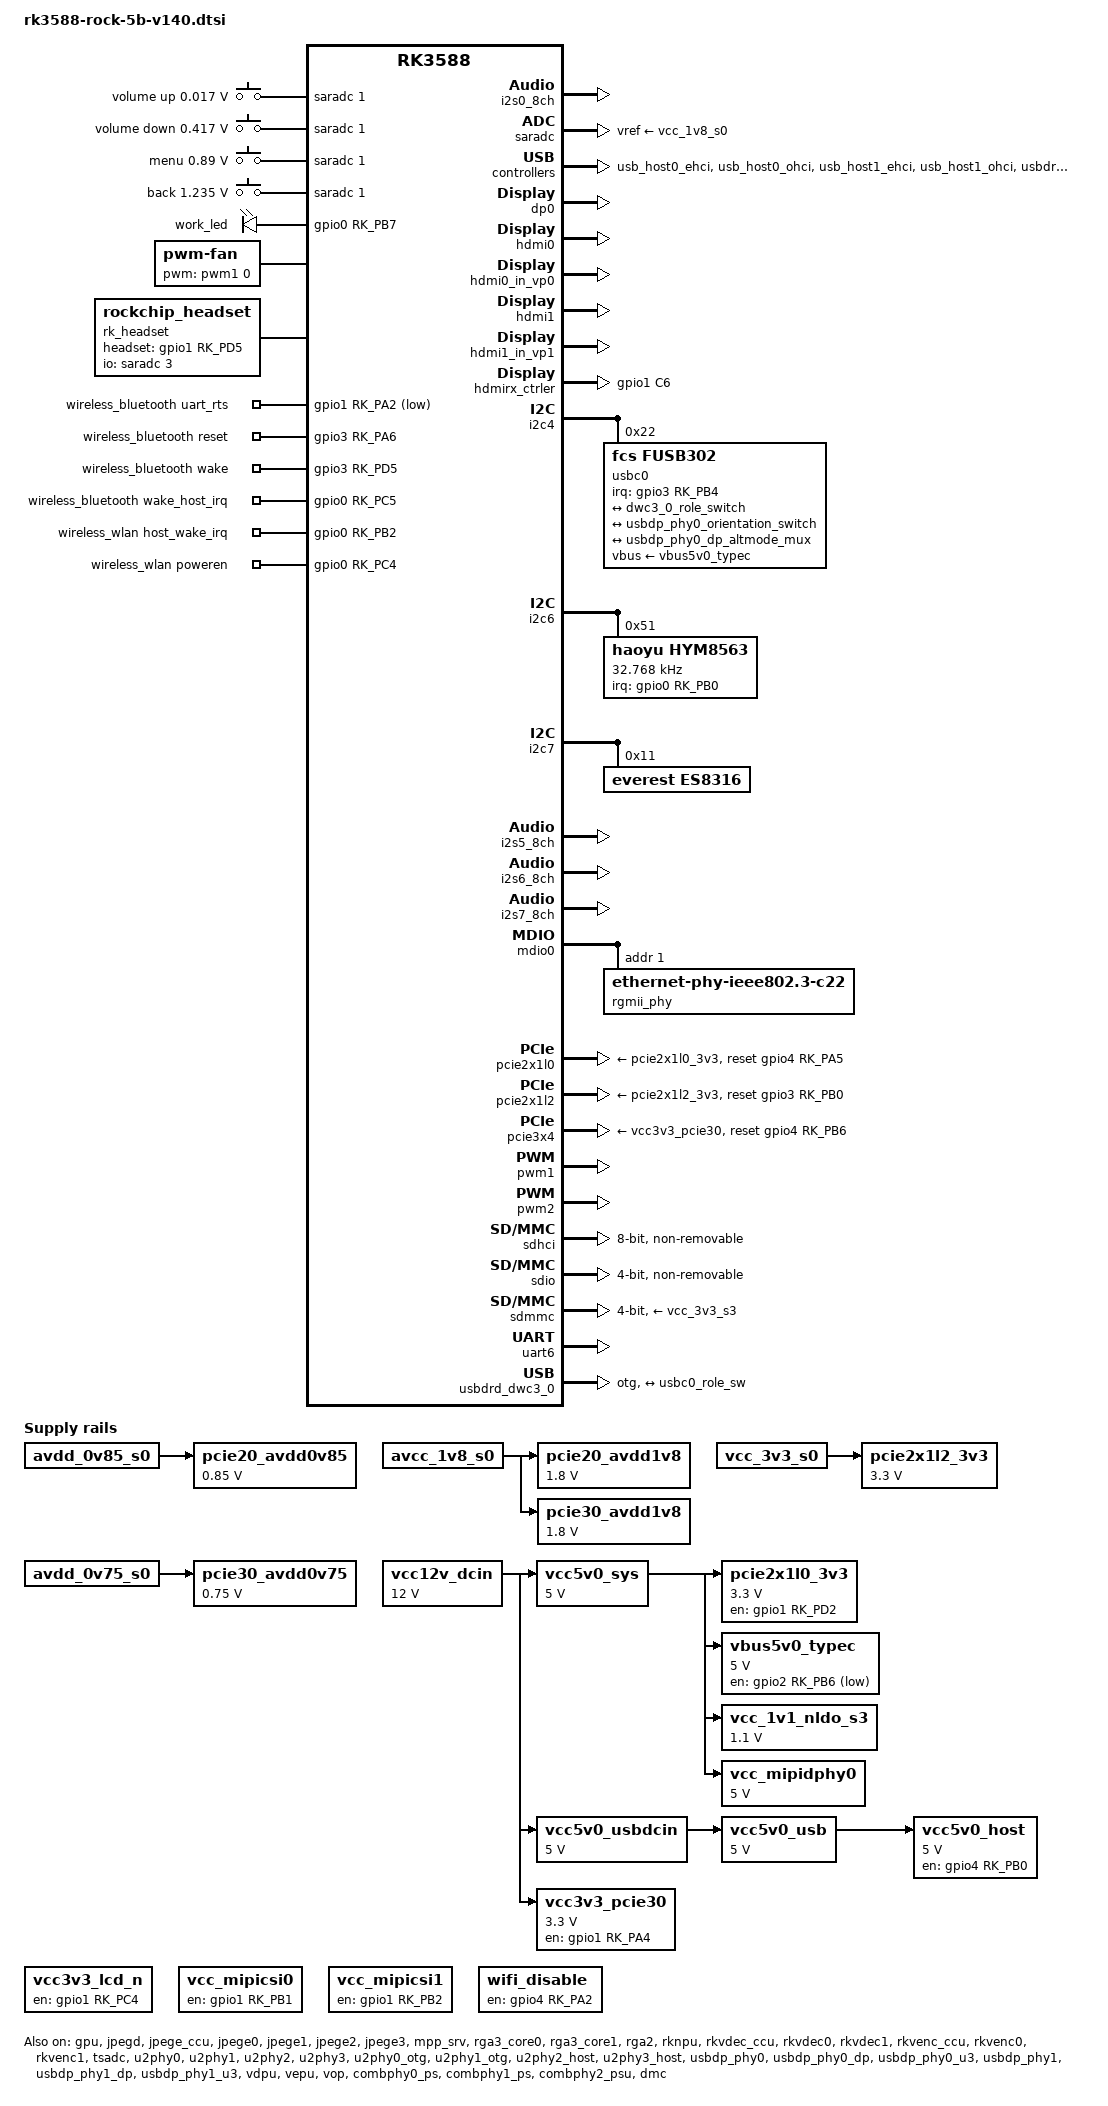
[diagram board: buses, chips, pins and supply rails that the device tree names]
// SPDX-License-Identifier: (GPL-2.0+ OR MIT)
/*
 * Copyright (c) 2021 Rockchip Electronics Co., Ltd.
 *
 */

#include <dt-bindings/gpio/gpio.h>
#include <dt-bindings/pwm/pwm.h>
#include <dt-bindings/pinctrl/rockchip.h>
#include <dt-bindings/input/rk-input.h>
#include <dt-bindings/display/drm_mipi_dsi.h>
#include <dt-bindings/display/rockchip_vop.h>
#include <dt-bindings/sensor-dev.h>
#include "dt-bindings/usb/pd.h"
#include "rk3588.dtsi"
#include "rk3588-rk806-5B-v20.dtsi"


/ {
	aliases {
		mmc0 = &sdmmc;
		mmc1 = &sdhci;
		mmc2 = &sdio;
	};

	adc_keys: adc-keys {
		compatible = "adc-keys";
		io-channels = <&saradc 1>;
		io-channel-names = "buttons";
		keyup-threshold-microvolt = <1800000>;
		poll-interval = <100>;

		vol-up-key {
			label = "volume up";
			linux,code = <KEY_VOLUMEUP>;
			press-threshold-microvolt = <17000>;
		};

		vol-down-key {
			label = "volume down";
			linux,code = <KEY_VOLUMEDOWN>;
			press-threshold-microvolt = <417000>;
		};

		menu-key {
			label = "menu";
			linux,code = <KEY_MENU>;
			press-threshold-microvolt = <890000>;
		};

		back-key {
			label = "back";
			linux,code = <KEY_BACK>;
			press-threshold-microvolt = <1235000>;
		};
	};

	hdmi0_sound: hdmi0-sound {
		status = "okay";
		compatible = "rockchip,hdmi";
		rockchip,mclk-fs = <128>;
		rockchip,card-name = "rockchip-hdmi0";
		rockchip,cpu = <&i2s5_8ch>;
		rockchip,codec = <&hdmi0>;
		rockchip,jack-det;
	};

	hdmi1_sound: hdmi1-sound {
		status = "okay";
		compatible = "rockchip,hdmi";
		rockchip,mclk-fs = <128>;
		rockchip,card-name = "rockchip-hdmi1";
		rockchip,cpu = <&i2s6_8ch>;
		rockchip,codec = <&hdmi1>;
		rockchip,jack-det;
	};

	dp0_sound: dp0-sound {
		status = "okay";
		compatible = "rockchip,hdmi";
		rockchip,card-name= "rockchip,dp0";
		rockchip,mclk-fs = <512>;
		rockchip,cpu = <&spdif_tx2>;
		rockchip,codec = <&dp0 1>;
		rockchip,jack-det;
	};

	dp1_sound: dp1-sound {
		status = "disabled";
		compatible = "rockchip,hdmi";
		rockchip,card-name= "rockchip,dp1";
		rockchip,mclk-fs = <512>;
		rockchip,cpu = <&spdif_tx5>;
		rockchip,codec = <&dp1 1>;
		rockchip,jack-det;
	};

	leds: leds {
		compatible = "gpio-leds";
		work_led: work {
			gpios = <&gpio0 RK_PB7 GPIO_ACTIVE_HIGH>;
			linux,default-trigger = "heartbeat";
		};
	};

	vcc12v_dcin: vcc12v-dcin {
		compatible = "regulator-fixed";
		regulator-name = "vcc12v_dcin";
		regulator-always-on;
		regulator-boot-on;
		regulator-min-microvolt = <12000000>;
		regulator-max-microvolt = <12000000>;
	};

	vcc5v0_sys: vcc5v0-sys {
		compatible = "regulator-fixed";
		regulator-name = "vcc5v0_sys";
		regulator-always-on;
		regulator-boot-on;
		regulator-min-microvolt = <5000000>;
		regulator-max-microvolt = <5000000>;
		vin-supply = <&vcc12v_dcin>;
	};

	vcc5v0_usbdcin: vcc5v0-usbdcin {
		compatible = "regulator-fixed";
		regulator-name = "vcc5v0_usbdcin";
		regulator-always-on;
		regulator-boot-on;
		regulator-min-microvolt = <5000000>;
		regulator-max-microvolt = <5000000>;
		vin-supply = <&vcc12v_dcin>;
	};

	vcc5v0_usb: vcc5v0-usb {
		compatible = "regulator-fixed";
		regulator-name = "vcc5v0_usb";
		regulator-always-on;
		regulator-boot-on;
		regulator-min-microvolt = <5000000>;
		regulator-max-microvolt = <5000000>;
		vin-supply = <&vcc5v0_usbdcin>;
	};

	/* If hdmirx node is disabled, delete the reserved-memory node here. */
	reserved-memory {
		#address-cells = <2>;
		#size-cells = <2>;
		ranges;

		/* Reserve 256MB memory for hdmirx-controller@fdee0000 */
		cma {
			compatible = "shared-dma-pool";
			reusable;
			reg = <0x0 (256 * 0x100000) 0x0 (256 * 0x100000)>;
			linux,cma-default;
		};
	};

	es8316_sound: es8316-sound {
		status = "okay";
		compatible = "simple-audio-card";
		simple-audio-card,format = "i2s";
		simple-audio-card,mclk-fs = <256>;
		simple-audio-card,name = "rockchip,es8316-codec";
		simple-audio-card,dai-link@0 {
			format = "i2s";
			cpu {
				sound-dai = <&i2s0_8ch>;
			};
			codec {
				sound-dai = <&es8316>;
			};
		};
	};

	fan: pwm-fan {
		compatible = "pwm-fan";
		#cooling-cells = <2>;
		pwms = <&pwm1 0 50000 0>;
		cooling-levels = <0 50 100 150 200 255>;
		rockchip,temp-trips = <
                50000   1
                55000   2
                60000   3
                65000   4
                70000   5
        >;
	};

	hdmiin_dc: hdmiin-dc {
		compatible = "rockchip,dummy-codec";
		#sound-dai-cells = <0>;
	};

	hdmiin-sound {
		compatible = "simple-audio-card";
		simple-audio-card,format = "i2s";
		simple-audio-card,name = "rockchip,hdmiin";
		simple-audio-card,bitclock-master = <&dailink0_master>;
		simple-audio-card,frame-master = <&dailink0_master>;
		status = "okay";
		simple-audio-card,cpu {
			sound-dai = <&i2s7_8ch>;
		};
		dailink0_master: simple-audio-card,codec {
			sound-dai = <&hdmiin_dc>;
		};
	};

	pcie20_avdd0v85: pcie20-avdd0v85 {
		compatible = "regulator-fixed";
		regulator-name = "pcie20_avdd0v85";
		regulator-boot-on;
		regulator-always-on;
		regulator-min-microvolt = <850000>;
		regulator-max-microvolt = <850000>;
		vin-supply = <&avdd_0v85_s0>;
	};

	pcie20_avdd1v8: pcie20-avdd1v8 {
		compatible = "regulator-fixed";
		regulator-name = "pcie20_avdd1v8";
		regulator-boot-on;
		regulator-always-on;
		regulator-min-microvolt = <1800000>;
		regulator-max-microvolt = <1800000>;
		vin-supply = <&avcc_1v8_s0>;
	};

    // PCIe 2.0 E-Key Socket ( Wireless NIC )
	pcie2x1l0_3v3: pcie2x1l1-3v3 {
		compatible = "regulator-fixed";
		regulator-name = "pcie2x1l0_3v3";
		regulator-min-microvolt = <3300000>;
		regulator-max-microvolt = <3300000>;
		regulator-boot-on;
		regulator-always-on;
		enable-active-high;
		gpios = <&gpio1 RK_PD2 GPIO_ACTIVE_HIGH>;
		startup-delay-us = <5000>;
		vin-supply = <&vcc5v0_sys>;
		regulator-state-mem {
			regulator-off-in-suspend;
		};
	};

	pcie2x1l2_3v3: pcie2x1l2-3v3 {
		compatible = "regulator-fixed";
		regulator-name = "pcie2x1l2_3v3";
		regulator-min-microvolt = <3300000>;
		regulator-max-microvolt = <3300000>;
		regulator-boot-on;
		regulator-always-on;
		startup-delay-us = <5000>;
		vin-supply = <&vcc_3v3_s0>;
	};

	pcie30_avdd0v75: pcie30-avdd0v75 {
		compatible = "regulator-fixed";
		regulator-name = "pcie30_avdd0v75";
		regulator-boot-on;
		regulator-always-on;
		regulator-min-microvolt = <750000>;
		regulator-max-microvolt = <750000>;
		vin-supply = <&avdd_0v75_s0>;
	};

	pcie30_avdd1v8: pcie30-avdd1v8 {
		compatible = "regulator-fixed";
		regulator-name = "pcie30_avdd1v8";
		regulator-boot-on;
		regulator-always-on;
		regulator-min-microvolt = <1800000>;
		regulator-max-microvolt = <1800000>;
		vin-supply = <&avcc_1v8_s0>;
	};

	rk_headset: rk-headset {
		status = "okay";
		compatible = "rockchip_headset";
		headset_gpio = <&gpio1 RK_PD5 GPIO_ACTIVE_HIGH>;
		pinctrl-names = "default";
		pinctrl-0 = <&hp_det>;
		io-channels = <&saradc 3>;
	};

	vbus5v0_typec: vbus5v0-typec {
		compatible = "regulator-fixed";
		regulator-name = "vbus5v0_typec";
		regulator-min-microvolt = <5000000>;
		regulator-max-microvolt = <5000000>;
		gpio = <&gpio2 RK_PB6 GPIO_ACTIVE_HIGH>;
		vin-supply = <&vcc5v0_sys>;
		pinctrl-names = "default";
		pinctrl-0 = <&typec5v_pwren>;
	};

	vcc_1v1_nldo_s3: vcc-1v1-nldo-s3 {
		compatible = "regulator-fixed";
		regulator-name = "vcc_1v1_nldo_s3";
		regulator-always-on;
		regulator-boot-on;
		regulator-min-microvolt = <1100000>;
		regulator-max-microvolt = <1100000>;
		vin-supply = <&vcc5v0_sys>;
	};

	vcc3v3_lcd_n: vcc3v3-lcd0-n {
		compatible = "regulator-fixed";
		regulator-name = "vcc3v3_lcd0_n";
		regulator-boot-on;
		enable-active-high;
		gpio = <&gpio1 RK_PC4 GPIO_ACTIVE_HIGH>;
		regulator-state-mem {
			regulator-off-in-suspend;
		};
	};

	vcc3v3_pcie30: vcc3v3-pcie30 {
		compatible = "regulator-fixed";
		regulator-name = "vcc3v3_pcie30";
		regulator-min-microvolt = <3300000>;
		regulator-max-microvolt = <3300000>;
		enable-active-high;
		gpios = <&gpio1 RK_PA4 GPIO_ACTIVE_HIGH>;
		startup-delay-us = <5000>;
		vin-supply = <&vcc12v_dcin>;
	};

	vcc5v0_host: vcc5v0-host {
		compatible = "regulator-fixed";
		regulator-name = "vcc5v0_host";
		regulator-boot-on;
		regulator-always-on;
		regulator-min-microvolt = <5000000>;
		regulator-max-microvolt = <5000000>;
		enable-active-high;
		gpio = <&gpio4 RK_PB0 GPIO_ACTIVE_HIGH>;
		vin-supply = <&vcc5v0_usb>;
		pinctrl-names = "default";
		pinctrl-0 = <&vcc5v0_host_en>;
	};

	vcc_mipicsi0: vcc-mipicsi0-regulator {
		compatible = "regulator-fixed";
		gpio = <&gpio1 RK_PB1 GPIO_ACTIVE_HIGH>;
		pinctrl-names = "default";
		pinctrl-0 = <&mipicsi0_pwr>;
		regulator-name = "vcc_mipicsi0";
		enable-active-high;
	};

	vcc_mipicsi1: vcc-mipicsi1-regulator {
		compatible = "regulator-fixed";
		gpio = <&gpio1 RK_PB2 GPIO_ACTIVE_HIGH>;
		pinctrl-names = "default";
		pinctrl-0 = <&mipicsi1_pwr>;
		regulator-name = "vcc_mipicsi1";
		enable-active-high;
	};

	vcc_mipidphy0: vcc-mipidphy0-regulator {
		compatible = "regulator-fixed";
		regulator-name = "vcc_mipidphy0";
		regulator-min-microvolt = <5000000>;
		regulator-max-microvolt = <5000000>;
		vin-supply = <&vcc5v0_sys>;
	};

	wireless_bluetooth: wireless-bluetooth {
        compatible = "bluetooth-platdata";
        clocks = <&hym8563>;
        clock-names = "ext_clock";
        uart_rts_gpios = <&gpio1 RK_PA2 GPIO_ACTIVE_LOW>;
        pinctrl-names = "default", "rts_gpio";
        pinctrl-0 = <&uart6m1_rtsn>, <&bt_reset_gpio>, <&bt_wake_gpio>, <&bt_irq_gpio>;
        pinctrl-1 = <&uart6_gpios>;
        BT,reset_gpio    = <&gpio3 RK_PA6 GPIO_ACTIVE_HIGH>;
        BT,wake_gpio     = <&gpio3 RK_PD5 GPIO_ACTIVE_HIGH>;
        BT,wake_host_irq = <&gpio0 RK_PC5 GPIO_ACTIVE_HIGH>;
        status = "okay";
	};

	wireless_wlan: wireless-wlan {
        compatible = "wlan-platdata";
        clocks = <&hym8563>;
        wifi_chip_type = "ap6255";
        pinctrl-names = "default";
        pinctrl-0 = <&wifi_host_wake_irq>, <&wifi_poweren_gpio>;
        WIFI,host_wake_irq = <&gpio0 RK_PB2 GPIO_ACTIVE_HIGH>;
        WIFI,poweren_gpio = <&gpio0 RK_PC4 GPIO_ACTIVE_HIGH>;
        status = "okay";
	};

	wifi_disable: wifi-diable-gpio-regulator {
		compatible = "regulator-fixed";
		regulator-name = "wifi_disable";
		enable-active-high;
		gpio = <&gpio4 RK_PA2 GPIO_ACTIVE_HIGH>;
		regulator-boot-on;
		regulator-always-on;
	};
};

&av1d_mmu {
	status = "okay";
};

&cpu_l0 {
	cpu-supply = <&vdd_cpu_lit_s0>;
	mem-supply = <&vdd_cpu_lit_mem_s0>;
};

&cpu_b0 {
	cpu-supply = <&vdd_cpu_big0_s0>;
	mem-supply = <&vdd_cpu_big0_mem_s0>;
};

&cpu_b2 {
	cpu-supply = <&vdd_cpu_big1_s0>;
	mem-supply = <&vdd_cpu_big1_mem_s0>;
};

&gpu {
	mali-supply = <&vdd_gpu_s0>;
	mem-supply = <&vdd_gpu_mem_s0>;
	status = "okay";
};

&i2s0_8ch {
	status = "okay";
	pinctrl-0 = <&i2s0_lrck
		     &i2s0_sclk
		     &i2s0_sdi0
		     &i2s0_sdo0>;
};

&jpegd {
	status = "okay";
};

&jpegd_mmu {
	status = "okay";
};

&jpege_ccu {
	status = "okay";
};

&jpege0 {
	status = "okay";
};

&jpege0_mmu {
	status = "okay";
};

&jpege1 {
	status = "okay";
};

&jpege1_mmu {
	status = "okay";
};

&jpege2 {
	status = "okay";
};

&jpege2_mmu {
	status = "okay";
};

&jpege3 {
	status = "okay";
};

&jpege3_mmu {
	status = "okay";
};

&mpp_srv {
	status = "okay";
};

&rga3_core0 {
	status = "okay";
};

&rga3_0_mmu {
	status = "okay";
};

&rga3_core1 {
	status = "okay";
};

&rga3_1_mmu {
	status = "okay";
};

&rga2 {
	status = "okay";
};

&rknpu {
	rknpu-supply = <&vdd_npu_s0>;
	mem-supply = <&vdd_npu_mem_s0>;
	status = "okay";
};

&rknpu_mmu {
	status = "okay";
};

&rkvdec_ccu {
	status = "okay";
};

&rkvdec0 {
	status = "okay";
};

&rkvdec0_mmu {
	status = "okay";
};

&rkvdec1 {
	status = "okay";
};

&rkvdec1_mmu {
	status = "okay";
};

&rkvenc_ccu {
	status = "okay";
};

&rkvenc0 {
	status = "okay";
};

&rkvenc0_mmu {
	status = "okay";
};

&rkvenc1 {
	status = "okay";
};

&rkvenc1_mmu {
	status = "okay";
};

&rockchip_suspend {
	status = "okay";
	rockchip,sleep-debug-en = <1>;
};

&saradc {
	status = "okay";
	vref-supply = <&vcc_1v8_s0>;
};

&tsadc {
	status = "okay";
};

&u2phy0 {
	status = "okay";
};

&u2phy1 {
	status = "okay";
};

&u2phy2 {
	status = "okay";
};

&u2phy3 {
	status = "okay";
};

&u2phy0_otg {
	status = "okay";
	rockchip,typec-vbus-det;
};

&u2phy1_otg {
	status = "okay";
	phy-supply = <&vcc5v0_host>;
};

&u2phy2_host {
	status = "okay";
	phy-supply = <&vcc5v0_host>;
};

&u2phy3_host {
	status = "okay";
	phy-supply = <&vcc5v0_host>;
};

&usb_host0_ehci {
	status = "okay";
};

&usb_host0_ohci {
	status = "okay";
};

&usb_host1_ehci {
	status = "okay";
};

&usb_host1_ohci {
	status = "okay";
};

&usbdp_phy0 {
	status = "okay";
};

&usbdp_phy0_dp {
	status = "okay";
};

&usbdp_phy0_u3 {
	status = "okay";
};

&usbdp_phy1 {
	status = "okay";
	rockchip,dp-lane-mux = <2 3>;
};

&usbdp_phy1_dp {
	status = "okay";
};

&usbdp_phy1_u3 {
	status = "okay";
};

&usbdrd3_0 {
	status = "okay";
};

&usbhost3_0 {
	status = "okay";
};

&usbhost_dwc3_0 {
	status = "okay";
};

&usbdrd3_1 {
	status = "okay";
};

&usbdrd_dwc3_1 {
	status = "okay";
};

&vdpu {
	status = "okay";
};

&vdpu_mmu {
	status = "okay";
};

&vepu {
	status = "okay";
};

&vop {
	status = "okay";
};

&vop_mmu {
	status = "okay";
};

&combphy0_ps {
	status = "okay";
};

&combphy1_ps {
	status = "okay";
};

&combphy2_psu {
	status = "okay";
};

&dmc {
	center-supply = <&vdd_ddr_s0>;
	mem-supply = <&vdd_log_s0>;
	status = "okay";
};

&dfi {
	status = "okay";
};

&dp0 {
	status = "okay";
};

&dp0_in_vp2 {
	status = "okay";
};

&route_dp0 {
	status = "okay";
	connect = <&vp2_out_dp0>;
};

&dp1 {
	pinctrl-names = "default";
	pinctrl-0 = <&dp1_hpd>;
	hpd-gpios = <&gpio1 RK_PB5 GPIO_ACTIVE_HIGH>;
	status = "disabled";
};

&dp1_in_vp2 {
	status = "disabled";
};

&hdmi0 {
	enable-gpios = <&gpio4 RK_PB1 GPIO_ACTIVE_HIGH>;
	status = "okay";
};

&hdmi0_in_vp0 {
	status = "okay";
};

&hdmi1 {
	enable-gpios = <&gpio4 RK_PB2 GPIO_ACTIVE_HIGH>;
	status = "okay";
};

&hdmi1_in_vp1 {
	status = "okay";
};

/* Should work with at least 128MB cma reserved above. */
&hdmirx_ctrler {
	status = "okay";

	pinctrl-0 = <&hdmim1_rx_cec &hdmim1_rx_hpdin &hdmim1_rx_scl &hdmim1_rx_sda &hdmirx_det>;
	/* Effective level used to trigger HPD: 0-low, 1-high */
	hpd-trigger-level = <1>;
	hdmirx-det-gpios = <&gpio1 RK_PC6 GPIO_ACTIVE_LOW>;
};

&hdptxphy_hdmi0 {
	status = "okay";
};

&hdptxphy_hdmi1 {
	status = "okay";
};

&i2c4 {
	status = "okay";
	pinctrl-0 = <&i2c4m1_xfer>;

	usbc0: fusb302@22 {
		compatible = "fcs,fusb302";
		reg = <0x22>;
		interrupt-parent = <&gpio3>;
		interrupts = <RK_PB4 IRQ_TYPE_LEVEL_LOW>;
		pinctrl-names = "default";
		pinctrl-0 = <&usbc0_int>;
		vbus-supply = <&vbus5v0_typec>;
		status = "okay";

		ports {
			#address-cells = <1>;
			#size-cells = <0>;

			port@0 {
				reg = <0>;
				usbc0_role_sw: endpoint@0 {
					remote-endpoint = <&dwc3_0_role_switch>;
				};
			};
		};

		usb_con: connector {
			compatible = "usb-c-connector";
			label = "USB-C";
			data-role = "dual";
			power-role = "sink";
			try-power-role = "sink";
			op-sink-microwatt = <1000000>;

			sink-pdos =
				<PDO_FIXED(5000, 3000, PDO_FIXED_USB_COMM)
				 PDO_FIXED(9000, 3000, PDO_FIXED_USB_COMM)
				 PDO_FIXED(12000, 2500, PDO_FIXED_USB_COMM)>;
			source-pdos =
				<PDO_FIXED(5000, 3000, PDO_FIXED_USB_COMM)>;

			altmodes {
				#address-cells = <1>;
				#size-cells = <0>;

				altmode@0 {
					reg = <0>;
					svid = <0xff01>;
					vdo = <0xffffffff>;
				};
			};

			ports {
				#address-cells = <1>;
				#size-cells = <0>;

				port@0 {
					reg = <0>;
					usbc0_orien_sw: endpoint {
						remote-endpoint = <&usbdp_phy0_orientation_switch>;
					};
				};

				port@1 {
					reg = <1>;
					dp_altmode_mux: endpoint {
						remote-endpoint = <&usbdp_phy0_dp_altmode_mux>;
					};
				};
			};
		};
	};
};

&i2c6 {
	status = "okay";

	hym8563: hym8563@51 {
		compatible = "haoyu,hym8563";
		reg = <0x51>;
		#clock-cells = <0>;
		clock-frequency = <32768>;
		clock-output-names = "hym8563";
		pinctrl-names = "default";
		pinctrl-0 = <&hym8563_int>;
		interrupt-parent = <&gpio0>;
		interrupts = <RK_PB0 IRQ_TYPE_LEVEL_LOW>;
		wakeup-source;
	};
};

&i2c7 {
	status = "okay";
	es8316: es8316@11 {
		compatible = "everest,es8316";
		reg = <0x11>;
		clocks = <&cru I2S0_8CH_MCLKOUT>;
		clock-names = "mclk";
		pinctrl-names = "default";
		pinctrl-0 = <&i2s0_mclk>;
		#sound-dai-cells = <0>;
	};
};

&i2s5_8ch {
	status = "okay";
};

&i2s6_8ch {
	status = "okay";
};

&i2s7_8ch {
	status = "okay";
};

&iep {
	status = "disabled";
};

&iep_mmu {
	status = "disabled";
};

&mdio0 {
	rgmii_phy: phy@1 {
		compatible = "ethernet-phy-ieee802.3-c22";
		reg = <0x1>;
	};
};

&mipi_dcphy0 {
	status = "disabled";
};

&mipi_dcphy1 {
	status = "okay";
};

// PCIE M.2 NGFF E-KEY SOCKET
&pcie2x1l0 {
	reset-gpios = <&gpio4 RK_PA5 GPIO_ACTIVE_HIGH>;
	vpcie3v3-supply = <&pcie2x1l0_3v3>;
	status = "okay";
};

// R8125
&pcie2x1l2 {
	reset-gpios = <&gpio3 RK_PB0 GPIO_ACTIVE_HIGH>;
	vpcie3v3-supply = <&pcie2x1l2_3v3>;
	status = "okay";
};

&pcie30phy {
	rockchip,pcie30-phymode = <PHY_MODE_PCIE_AGGREGATION>;
	status = "okay";
};

&pcie3x4 {
	reset-gpios = <&gpio4 RK_PB6 GPIO_ACTIVE_HIGH>;
	vpcie3v3-supply = <&vcc3v3_pcie30>;
	status = "okay";
};

&pinctrl {
	cam {
		mipicsi0_pwr: mipicsi0-pwr {
			rockchip,pins =
				/* camera power en */
				<1 RK_PB1 RK_FUNC_GPIO &pcfg_pull_none>;
		};
		mipicsi1_pwr: mipicsi1-pwr {
			rockchip,pins =
				/* camera power en */
				<1 RK_PB2 RK_FUNC_GPIO &pcfg_pull_none>;
		};
	};

	dp {
		dp1_hpd: dp1-hpd {
			rockchip,pins = <1 RK_PB5 RK_FUNC_GPIO &pcfg_pull_none>;
		};
	};

	hdmirx {
		hdmirx_det: hdmirx-det {
			rockchip,pins = <1 RK_PC6 RK_FUNC_GPIO &pcfg_pull_up>;
		};
	};

	headphone {
		hp_det: hp-det {
			rockchip,pins = <1 RK_PD5 RK_FUNC_GPIO &pcfg_pull_none>;
		};
	};

	hym8563 {
		hym8563_int: hym8563-int {
			rockchip,pins = <0 RK_PB0 RK_FUNC_GPIO &pcfg_pull_up>;
		};
	};

	led {
		led_sta: led-sta {
			rockchip,pins = <0 RK_PB7 RK_FUNC_GPIO &pcfg_pull_up>;
		};
	};

	wireless-bluetooth {
        uart6_gpios: uart6-gpios {
            rockchip,pins = <0 RK_PA2 RK_FUNC_GPIO &pcfg_pull_none>;
        };

        bt_reset_gpio: bt-reset-gpio {
            rockchip,pins = <3 RK_PA6 RK_FUNC_GPIO &pcfg_pull_none>;
        };

        bt_wake_gpio: bt-wake-gpio {
            rockchip,pins = <3 RK_PD5 RK_FUNC_GPIO &pcfg_pull_none>;
        };

        bt_irq_gpio: bt-irq-gpio {
            rockchip,pins = <0 RK_PC5 RK_FUNC_GPIO &pcfg_pull_down>;
        };
	};

	wireless-wlan {
        wifi_host_wake_irq: wifi-host-wake-irq {
                rockchip,pins = <0 RK_PB2 RK_FUNC_GPIO &pcfg_pull_down>;
        };

        wifi_poweren_gpio: wifi-poweren-gpio {
                rockchip,pins = <0 RK_PC4 RK_FUNC_GPIO &pcfg_pull_up>;
        };
    };

	usb {
		vcc5v0_host_en: vcc5v0-host-en {
			rockchip,pins = <4 RK_PB0 RK_FUNC_GPIO &pcfg_pull_none>;
		};
	};

	usb-typec {
		usbc0_int: usbc0-int {
			rockchip,pins = <3 RK_PB4 RK_FUNC_GPIO &pcfg_pull_up>;
		};

		typec5v_pwren: typec5v-pwren {
			rockchip,pins = <2 RK_PB6 RK_FUNC_GPIO &pcfg_pull_none>;
		};
	};
};

&pwm1 {
	pinctrl-0 = <&pwm1m0_pins>;
	status = "okay";
};

&pwm2 {
	pinctrl-names = "active";
	pinctrl-0 = <&pwm2m2_pins>;
	status = "okay";
};

&route_hdmi0 {
	status = "okay";
	logo,uboot = "logo.bmp";
	logo,kernel = "logo_kernel.bmp";
	logo,mode = "center";
	charge_logo,mode = "center";
	connect = <&vp0_out_hdmi0>;
};

&route_hdmi1 {
	status = "okay";
	logo,uboot = "logo.bmp";
	logo,kernel = "logo_kernel.bmp";
	logo,mode = "center";
	charge_logo,mode = "center";
	connect = <&vp1_out_hdmi1>;
};

&sata0 {
	status = "disabled";
};

// emmc
&sdhci {
	bus-width = <8>;
	no-sdio;
	no-sd;
	supports-sd;
	non-removable;
	max-frequency = <200000000>;
	mmc-hs400-1_8v;
	mmc-hs400-enhanced-strobe;
	status = "okay";
};

// WLAN
&sdio {
	max-frequency = <150000000>;
	supports-sdio;
	bus-width = <4>;
	disable-wp;
	cap-sd-highspeed;
	cap-sdio-irq;
	keep-power-in-suspend;
	// mmc-pwrseq = <&sdio_pwrseq>;
	non-removable;
	pinctrl-names = "default";
	pinctrl-0 = <&sdiom0_pins>;
	sd-uhs-sdr104;
	status = "okay";
};

// SDCARD
&sdmmc {
	max-frequency = <200000000>;
	no-sdio;
	no-mmc;
	bus-width = <4>;
	cap-mmc-highspeed;
	cap-sd-highspeed;
	disable-wp;
	sd-uhs-sdr104;
	supports-emmc;
	vmmc-supply = <&vcc_3v3_s3>;
	vqmmc-supply = <&vccio_sd_s0>;
	pinctrl-names = "default";
	pinctrl-0 = <&sdmmc_bus4 &sdmmc_clk &sdmmc_cmd &sdmmc_det>;
	status = "okay";
};

&uart6 {
	status = "okay";
	pinctrl-names = "default";
	pinctrl-0 = <&uart6m1_xfer &uart6m1_ctsn>;
};

// #USB3.1/DP PHY0
&usbdp_phy0 {
	orientation-switch;
	svid = <0xff01>;
	sbu1-dc-gpios = <&gpio4 RK_PA6 GPIO_ACTIVE_HIGH>;
	sbu2-dc-gpios = <&gpio4 RK_PA7 GPIO_ACTIVE_HIGH>;

	port {
		#address-cells = <1>;
		#size-cells = <0>;
		usbdp_phy0_orientation_switch: endpoint@0 {
			reg = <0>;
			remote-endpoint = <&usbc0_orien_sw>;
		};

		usbdp_phy0_dp_altmode_mux: endpoint@1 {
			reg = <1>;
			remote-endpoint = <&dp_altmode_mux>;
		};
	};
};

&usbdrd_dwc3_0 {
	status = "okay";
	dr_mode = "otg";
	usb-role-switch;
	port {
		#address-cells = <1>;
		#size-cells = <0>;
		dwc3_0_role_switch: endpoint@0 {
			reg = <0>;
			remote-endpoint = <&usbc0_role_sw>;
		};
	};
};

/* vp0 & vp1 splice for 8K output */
&vp0 {
	rockchip,plane-mask = <(1 << ROCKCHIP_VOP2_CLUSTER0 | 1 << ROCKCHIP_VOP2_ESMART0)>;
	rockchip,primary-plane = <ROCKCHIP_VOP2_ESMART0>;
};

&vp1 {
	rockchip,plane-mask = <(1 << ROCKCHIP_VOP2_CLUSTER1 | 1 << ROCKCHIP_VOP2_ESMART1)>;
	rockchip,primary-plane = <ROCKCHIP_VOP2_ESMART1>;
};

&vp2 {
	rockchip,plane-mask = <(1 << ROCKCHIP_VOP2_CLUSTER2 | 1 << ROCKCHIP_VOP2_ESMART2)>;
	rockchip,primary-plane = <ROCKCHIP_VOP2_ESMART2>;
};

&vp3 {
	rockchip,plane-mask = <(1 << ROCKCHIP_VOP2_CLUSTER3 | 1 << ROCKCHIP_VOP2_ESMART3)>;
	rockchip,primary-plane = <ROCKCHIP_VOP2_ESMART3>;
};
